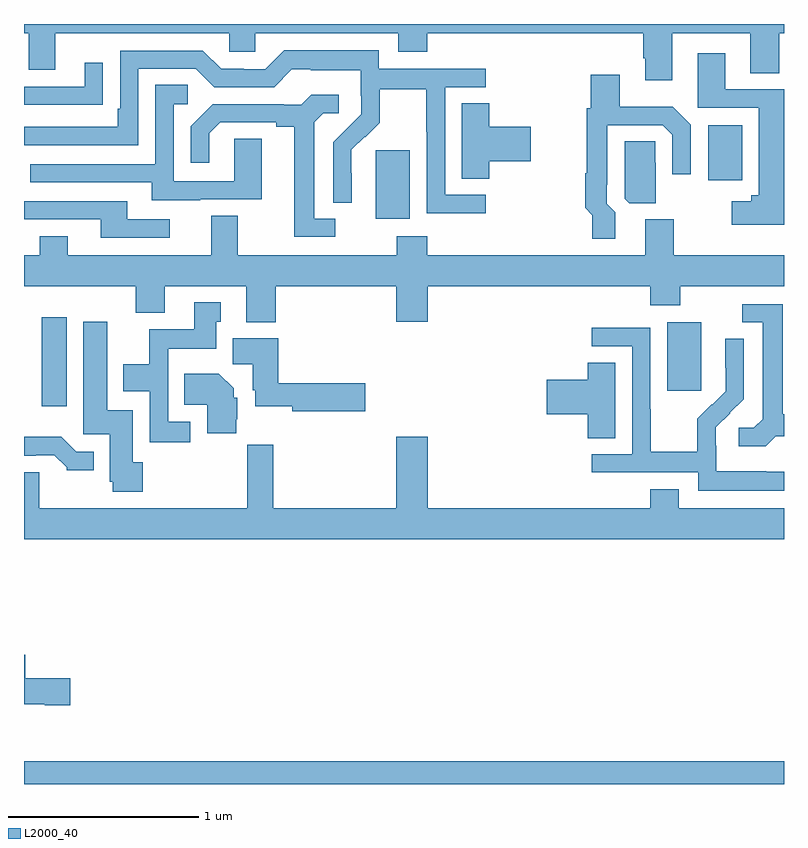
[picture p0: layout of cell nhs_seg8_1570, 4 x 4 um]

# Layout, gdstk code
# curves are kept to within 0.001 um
import gdstk
lib = gdstk.Library(unit=1e-6, precision=1e-09)
def R(c, l, rs):  # rectangles x0, y0, x1, y1
    for r in rs: c.add(gdstk.rectangle(r[:2], r[2:], *l))
def P(c, l, *ps):  # polygons
    for p in ps: c.add(gdstk.Polygon(p, *l))
L2000_40 = (2000, 40)

nhs_seg8_1570 = lib.new_cell('nhs_seg8_1570')
R(nhs_seg8_1570, L2000_40, [(211,1093.9,215,1094.02), (211.094,1095.888,211.225,1096.357), (214.385,1095.969,214.564,1096.33), (212.852,1096.874,213.031,1097.235), (214.601,1097.078,214.78,1097.368)])
P(nhs_seg8_1570, L2000_40, [(214.411,1097.852),(214.823,1097.852),(214.823,1097.641),(214.976,1097.641),(214.976,1097.852),(215,1097.852),(215,1097.9),(211,1097.9),(211,1097.852),(211.025,1097.852),(211.025,1097.658),(211.165,1097.658),(211.165,1097.852),(212.079,1097.852),(212.079,1097.754),(212.217,1097.754),(212.217,1097.852),(212.969,1097.852),(212.969,1097.753),(213.122,1097.753),(213.122,1097.852),(214.259,1097.852),(214.259,1097.719),(214.271,1097.719),(214.271,1097.604),(214.411,1097.604)],
  [(213.43,1097.001),(213.216,1097.001),(213.216,1097.568),(213.43,1097.568),(213.43,1097.664),(212.868,1097.664),(212.868,1097.761),(212.371,1097.761),(212.271,1097.661),(212.156,1097.661),(212.156,1097.664),(212.037,1097.664),(211.941,1097.76),(211.506,1097.76),(211.506,1097.455),(211.493,1097.455),(211.493,1097.358),(211,1097.358),(211,1097.262),(211.602,1097.262),(211.602,1097.664),(211.905,1097.664),(212.001,1097.568),(212.316,1097.568),(212.409,1097.661),(212.509,1097.661),(212.509,1097.657),(212.772,1097.657),(212.772,1097.523),(212.774,1097.523),(212.774,1097.426),(212.628,1097.278),(212.628,1096.96),(212.724,1096.96),(212.723,1097.237),(212.793,1097.307),(212.796,1097.304),(212.873,1097.381),(212.873,1097.556),(213.118,1097.556),(213.118,1097.332),(213.12,1097.332),(213.12,1096.903),(213.43,1096.903)],
  [(215,1097.556),(214.69,1097.556),(214.69,1097.746),(214.547,1097.746),(214.547,1097.46),(214.868,1097.46),(214.868,1096.998),(214.827,1096.998),(214.827,1096.966),(214.725,1096.966),(214.725,1096.844),(215,1096.844)],
  [(211.313,1097.476),(211.415,1097.476),(211.415,1097.695),(211.319,1097.695),(211.319,1097.571),(211,1097.571),(211,1097.475),(211.313,1097.475)],
  [(214.111,1096.91),(214.068,1096.953),(214.068,1097.053),(214.071,1097.053),(214.071,1097.367),(214.362,1097.367),(214.413,1097.316),(214.413,1097.109),(214.509,1097.109),(214.509,1097.37),(214.415,1097.464),(214.135,1097.464),(214.135,1097.632),(213.983,1097.632),(213.983,1097.457),(213.963,1097.457),(213.963,1097.114),(213.953,1097.114),(213.953,1096.932),(213.991,1096.893),(213.991,1096.77),(214.111,1096.77)],
  [(211.927,1096.977),(212.251,1096.977),(212.251,1097.297),(212.106,1097.297),(212.106,1097.073),(211.788,1097.073),(211.788,1097.478),(211.861,1097.478),(211.861,1097.579),(211.692,1097.579),(211.692,1097.163),(211.033,1097.163),(211.033,1097.067),(211.673,1097.067),(211.673,1096.973),(211.927,1096.973)],
  [(212.638,1096.875),(212.527,1096.875),(212.527,1097.383),(212.574,1097.43),(212.656,1097.43),(212.656,1097.527),(212.512,1097.527),(212.46,1097.475),(212.366,1097.475),(212.366,1097.478),(211.994,1097.478),(211.878,1097.362),(211.878,1097.169),(211.975,1097.169),(211.975,1097.325),(212.032,1097.382),(212.327,1097.382),(212.327,1097.36),(212.423,1097.36),(212.423,1096.779),(212.638,1096.779)],
  [(213.449,1097.177),(213.667,1097.177),(213.667,1097.36),(213.449,1097.36),(213.449,1097.483),(213.305,1097.483),(213.305,1097.086),(213.449,1097.086)],
  [(214.324,1097.171),(214.323,1097.171),(214.323,1097.282),(214.161,1097.282),(214.161,1096.98),(214.185,1096.957),(214.324,1096.957)],
  [(211.768,1096.872),(211.543,1096.872),(211.543,1096.968),(211,1096.968),(211,1096.872),(211.403,1096.872),(211.403,1096.776),(211.768,1096.776)],
  [(212.324,1096.52),(212.96,1096.52),(212.96,1096.332),(213.124,1096.332),(213.124,1096.52),(214.295,1096.52),(214.295,1096.421),(214.455,1096.421),(214.455,1096.52),(215,1096.52),(215,1096.684),(214.419,1096.684),(214.419,1096.872),(214.271,1096.872),(214.271,1096.684),(213.122,1096.684),(213.122,1096.783),(212.962,1096.783),(212.962,1096.684),(212.125,1096.684),(212.125,1096.892),(211.985,1096.892),(211.985,1096.684),(211.231,1096.684),(211.231,1096.783),(211.084,1096.783),(211.084,1096.684),(211,1096.684),(211,1096.52),(211.589,1096.52),(211.589,1096.379),(211.741,1096.379),(211.741,1096.52),(212.171,1096.52),(212.171,1096.331),(212.324,1096.331)],
  [(211.876,1095.807),(211.758,1095.807),(211.758,1096.19),(212.011,1096.19),(212.011,1096.332),(212.035,1096.332),(212.035,1096.435),(211.895,1096.435),(211.895,1096.294),(211.66,1096.294),(211.66,1096.108),(211.523,1096.108),(211.523,1095.968),(211.662,1095.968),(211.662,1095.699),(211.876,1095.699)],
  [(214.956,1095.729),(215,1095.729),(215,1095.845),(214.993,1095.845),(214.993,1096.425),(214.779,1096.425),(214.779,1096.329),(214.889,1096.329),(214.889,1095.821),(214.842,1095.774),(214.761,1095.774),(214.761,1095.677),(214.904,1095.677)],
  [(211.625,1095.594),(211.573,1095.594),(211.573,1095.868),(211.438,1095.868),(211.438,1096.333),(211.313,1096.333),(211.313,1095.741),(211.451,1095.741),(211.451,1095.492),(211.468,1095.492),(211.468,1095.438),(211.625,1095.438)],
  [(215,1095.543),(214.907,1095.543),(214.907,1095.547),(214.644,1095.547),(214.644,1095.681),(214.642,1095.681),(214.642,1095.778),(214.788,1095.926),(214.788,1096.244),(214.692,1096.244),(214.692,1096.09),(214.694,1096.09),(214.694,1095.968),(214.623,1095.897),(214.62,1095.9),(214.543,1095.823),(214.543,1095.649),(214.299,1095.649),(214.299,1095.872),(214.296,1095.872),(214.296,1096.302),(213.987,1096.302),(213.987,1096.203),(214.2,1096.203),(214.2,1095.636),(213.987,1095.636),(213.987,1095.54),(214.548,1095.54),(214.548,1095.443),(215,1095.443)],
  [(212.797,1096.01),(212.339,1096.01),(212.339,1096.246),(212.099,1096.246),(212.099,1096.108),(212.204,1096.108),(212.204,1095.972),(212.216,1095.972),(212.216,1095.887),(212.412,1095.887),(212.412,1095.863),(212.797,1095.863)],
  [(214.111,1096.118),(213.968,1096.118),(213.968,1096.028),(213.75,1096.028),(213.75,1095.845),(213.968,1095.845),(213.968,1095.721),(214.111,1095.721)],
  [(212.117,1095.819),(212.122,1095.819),(212.122,1095.933),(212.104,1095.933),(212.104,1095.982),(212.026,1096.06),(211.843,1096.06),(211.843,1095.896),(211.964,1095.896),(211.964,1095.746),(212.117,1095.746)],
  [(211.366,1095.648),(211.275,1095.648),(211.197,1095.727),(211,1095.727),(211,1095.627),(211.061,1095.627),(211.061,1095.63),(211.16,1095.63),(211.224,1095.566),(211.224,1095.551),(211.366,1095.551)],
  [(215,1095.352),(214.447,1095.352),(214.447,1095.451),(214.295,1095.451),(214.295,1095.352),(213.124,1095.352),(213.124,1095.727),(212.96,1095.727),(212.96,1095.352),(212.312,1095.352),(212.312,1095.685),(212.176,1095.685),(212.176,1095.352),(211.081,1095.352),(211.081,1095.542),(211,1095.542),(211,1095.188),(215,1095.188)],
  [(211.243,1094.456),(211.007,1094.456),(211.007,1094.581),(211,1094.581),(211,1094.321),(211.11,1094.321),(211.11,1094.314),(211.243,1094.314)])

lib.write_gds('nhs_seg8_1570.gds')
